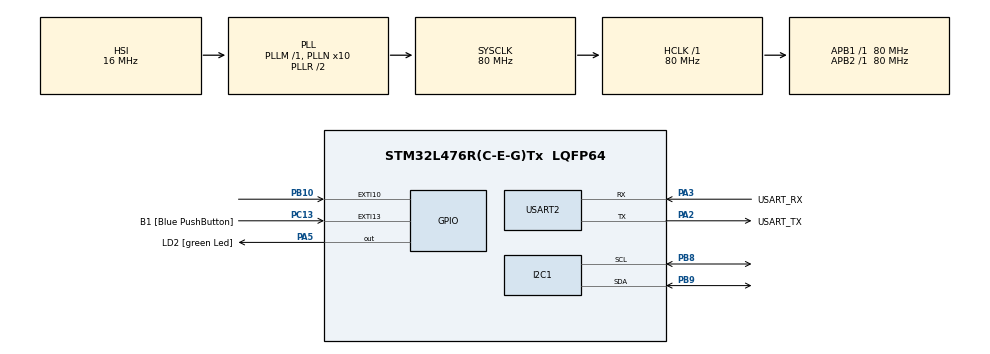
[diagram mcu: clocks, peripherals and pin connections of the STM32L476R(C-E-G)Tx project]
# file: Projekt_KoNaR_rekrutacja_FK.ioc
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I2C1.Timing=0x10909CEC
Mcu.Family=STM32L4
Mcu.Name=STM32L476R(C-E-G)Tx
Mcu.Package=LQFP64
NVIC.EXTI15_10_IRQn=true\:0\:0\:false\:false\:true\:true\:true\:true
NVIC.I2C1_ER_IRQn=true\:0\:0\:false\:false\:true\:true\:true\:true
NVIC.I2C1_EV_IRQn=true\:0\:0\:false\:false\:true\:true\:true\:true
NVIC.PriorityGroup=NVIC_PRIORITYGROUP_4
NVIC.TIM1_TRG_COM_TIM17_IRQn=true\:0\:0\:false\:false\:true\:true\:true\:true
NVIC.TIM1_UP_TIM16_IRQn=true\:0\:0\:false\:false\:true\:true\:true\:true
PA13\ (JTMS-SWDIO).GPIO_Label=TMS
PA13\ (JTMS-SWDIO).Mode=Serial_Wire
PA13\ (JTMS-SWDIO).Signal=SYS_JTMS-SWDIO
PA14\ (JTCK-SWCLK).GPIO_Label=TCK
PA14\ (JTCK-SWCLK).Mode=Serial_Wire
PA14\ (JTCK-SWCLK).Signal=SYS_JTCK-SWCLK
PA2.GPIO_Label=USART_TX
PA2.GPIO_Mode=GPIO_MODE_AF_PP
PA2.GPIO_PuPd=GPIO_NOPULL
PA2.GPIO_Speed=GPIO_SPEED_FREQ_VERY_HIGH
PA2.Mode=Asynchronous
PA2.Signal=USART2_TX
PA3.GPIO_Label=USART_RX
PA3.GPIO_Mode=GPIO_MODE_AF_PP
PA3.GPIO_PuPd=GPIO_NOPULL
PA3.GPIO_Speed=GPIO_SPEED_FREQ_VERY_HIGH
PA3.Mode=Asynchronous
PA3.Signal=USART2_RX
PA5.GPIO_Label=LD2 [green Led]
PA5.GPIO_ModeDefaultOutputPP=GPIO_MODE_OUTPUT_PP
PA5.GPIO_PuPd=GPIO_NOPULL
PA5.GPIO_Speed=GPIO_SPEED_FREQ_LOW
PA5.Signal=GPIO_Output
PB10.GPIO_ModeDefaultEXTI=GPIO_MODE_IT_RISING
PB10.Signal=GPXTI10
PB3\ (JTDO-TRACESWO).GPIO_Label=SWO
PB3\ (JTDO-TRACESWO).Signal=SYS_JTDO-SWO
PB8.Mode=I2C
PB8.Signal=I2C1_SCL
PB9.Mode=I2C
PB9.Signal=I2C1_SDA
PC13.GPIO_Label=B1 [Blue PushButton]
PC13.GPIO_ModeDefaultEXTI=GPIO_MODE_IT_FALLING
PC13.GPIO_PuPd=GPIO_NOPULL
PC13.Signal=GPXTI13
PC14-OSC32_IN\ (PC14).Mode=LSE-External-Oscillator
PC14-OSC32_IN\ (PC14).Signal=RCC_OSC32_IN
PC15-OSC32_OUT\ (PC15).Mode=LSE-External-Oscillator
PC15-OSC32_OUT\ (PC15).Signal=RCC_OSC32_OUT
PH0-OSC_IN\ (PH0).Signal=RCC_OSC_IN
PH1-OSC_OUT\ (PH1).Signal=RCC_OSC_OUT
ProjectManager.HeapSize=0x200
ProjectManager.StackSize=0x400
ProjectManager.TargetToolchain=STM32CubeIDE
RCC.ADCFreq_Value=64000000
RCC.AHBFreq_Value=80000000
RCC.APB1Freq_Value=80000000
RCC.APB1TimFreq_Value=80000000
RCC.APB2Freq_Value=80000000
RCC.APB2TimFreq_Value=80000000
RCC.CortexFreq_Value=80000000
RCC.HCLKFreq_Value=80000000
RCC.HSE_VALUE=8000000
RCC.HSI_VALUE=16000000
RCC.MSI_VALUE=4000000
RCC.PLLN=10
RCC.PLLSourceVirtual=RCC_PLLSOURCE_HSI
RCC.PREFETCH_ENABLE=1
RCC.SYSCLKFreq_VALUE=80000000
RCC.SYSCLKSource=RCC_SYSCLKSOURCE_PLLCLK
RCC.USBFreq_Value=64000000
RCC.VCOOutputFreq_Value=160000000
TIM16.Period=384-1
TIM16.Prescaler=8000-1
TIM17.Period=909-1
TIM17.Prescaler=8000-1
USART2.VirtualMode-Asynchronous=VM_ASYNC
VP_TIM16_VS_ClockSourceINT.Mode=Enable_Timer
VP_TIM17_VS_ClockSourceINT.Mode=Enable_Timer
board=NUCLEO-L476RG

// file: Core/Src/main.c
/* USER CODE BEGIN Header */
/**
  ******************************************************************************
  * @file           : main.c
  * @brief          : Main program body
  ******************************************************************************
  * @attention
  *
  * Copyright (c) 2023 STMicroelectronics.
  * All rights reserved.
  *
  * This software is licensed under terms that can be found in the LICENSE file
  * in the root directory of this software component.
  * If no LICENSE file comes with this software, it is provided AS-IS.
  *
  ******************************************************************************
  */
/* USER CODE END Header */
#include "main.h"

/* USER CODE BEGIN Includes */
#include <stdio.h>
#include "lps22hb_register_map.h"

/* USER CODE END Includes */

/* USER CODE BEGIN PTD */

#define ADDRESS	(0b01011101<<1)
#define INTERRUPT_EXTI_IRQn EXTI15_10_IRQn

/* USER CODE END PTD */

I2C_HandleTypeDef hi2c1;

TIM_HandleTypeDef htim16;
TIM_HandleTypeDef htim17;

UART_HandleTypeDef huart2;

void SystemClock_Config(void);
static void MX_GPIO_Init(void);
static void MX_USART2_UART_Init(void);
static void MX_I2C1_Init(void);
static void MX_TIM16_Init(void);
static void MX_TIM17_Init(void);

/* USER CODE BEGIN 0 */

uint32_t pressure_raw;
int16_t temperature_raw;

float pressure_hPa;
float temperature_C;

uint8_t buffer[5];

volatile uint8_t i2c_flag = 0;
volatile uint8_t B1_flag = 0;
volatile uint8_t sensor_flag = 0;
/*
void HAL_GPIO_EXTI_Callback(uint16_t GPIO_Pin) {
	if(GPIO_Pin==INTERRUPT_Pin) {
		HAL_I2C_Mem_Read_IT(&hi2c1, ADDRESS, LPS22HB_PRESS_OUT_XL, 1, buffer, 5);
	}
}
*/

void HAL_GPIO_EXTI_Callback(uint16_t GPIO_Pin)
{
    if(GPIO_Pin == GPIO_PIN_13)
    {
        B1_flag = 1;
    }
}

void HAL_TIM_PeriodElapsedCallback(TIM_HandleTypeDef *htim)
{
    if(htim == &htim16)
    {
        HAL_GPIO_TogglePin(GPIOA, GPIO_PIN_5);
    }
    if(htim == &htim17)
    {
		HAL_I2C_Mem_Read(&hi2c1, ADDRESS, LPS22HB_PRESS_OUT_XL, 1, buffer, 5, HAL_MAX_DELAY);
    }

}

void HAL_I2C_MemRxCpltCallback(I2C_HandleTypeDef *hi2c) {
	if(hi2c->Instance==I2C1) {
		const uint32_t pressure_raw = (((uint32_t)buffer[2])<<16) | (((uint32_t)buffer[1])<<8) | buffer[0];
		const int16_t temperature_raw = (((uint16_t)buffer[4])<<8) | buffer[3];

		pressure_hPa = pressure_raw/4096.f;
		temperature_C = temperature_raw/100.f;
		i2c_flag = 1;
	}
}

void ftoa(float value, char* buffer, int bufferSize, int decimalDigits) {
    int wholePart = (int)value;
    int fractionalPart = (int)((value - wholePart) * pow(10, decimalDigits));
    snprintf(buffer, bufferSize, "Preasure is: %d.%0*d hPa \n\r", wholePart, decimalDigits, fractionalPart);
}

/* USER CODE END 0 */

int main(void)
{

  /* MCU Configuration--------------------------------------------------------*/

  /* Reset of all peripherals, Initializes the Flash interface and the Systick. */
  HAL_Init();

  /* Configure the system clock */
  SystemClock_Config();

  /* Initialize all configured peripherals */
  MX_GPIO_Init();
  MX_USART2_UART_Init();
  MX_I2C1_Init();
  MX_TIM16_Init();
  MX_TIM17_Init();
  /* USER CODE BEGIN 2 */
  HAL_TIM_Base_Start_IT(&htim16);
  HAL_TIM_Base_Start_IT(&htim17);
  /* USER CODE END 2 */

  /* Infinite loop */
  /* USER CODE BEGIN WHILE */

	HAL_NVIC_DisableIRQ(INTERRUPT_EXTI_IRQn);

	{
		uint8_t reg = 0;
		HAL_I2C_Mem_Read(&hi2c1, ADDRESS, LPS22HB_WHO_AM_I, 1, &reg, 1, HAL_MAX_DELAY);

		if(reg==0b10110001) {
		  HAL_GPIO_WritePin(LD2_GPIO_Port, LD2_Pin, GPIO_PIN_SET);
		}
	}

	{
		// BOOT
		// Software Reset
		uint8_t reg = (1<<7) || (1<<1);
		HAL_I2C_Mem_Write(&hi2c1, ADDRESS, LPS22HB_CTRL_REG2, 1, &reg, 1, HAL_MAX_DELAY);
	}

	{
		// Output Data Rate 25Hz
		uint8_t reg = (3<<4);
		HAL_I2C_Mem_Write(&hi2c1, ADDRESS, LPS22HB_CTRL_REG1, 1, &reg, 1, HAL_MAX_DELAY);
	}

	{
		// Register address automatically incremented
		uint8_t reg = (1<<4);
		HAL_I2C_Mem_Write(&hi2c1, ADDRESS, LPS22HB_CTRL_REG2, 1, &reg, 1, HAL_MAX_DELAY);
	}

	{
		// DRDY interrupt
		uint8_t reg = (1<<2);
		HAL_I2C_Mem_Write(&hi2c1, ADDRESS, LPS22HB_CTRL_REG3, 1, &reg, 1, HAL_MAX_DELAY);
	}

	HAL_NVIC_EnableIRQ(INTERRUPT_EXTI_IRQn);

	// dummy read
	HAL_I2C_Mem_Read(&hi2c1, ADDRESS, LPS22HB_PRESS_OUT_XL, 1, buffer, 5, HAL_MAX_DELAY);

	// uart2 buffer
	char uart_buffer[64];
	char b1_buffer[64];
	snprintf(b1_buffer, sizeof(b1_buffer), "Wcisnieto przycsk!\n\r" );

  while(1) {

	  if(i2c_flag)
	  {
//		uint8_t buffer[5] = {0};
//		HAL_I2C_Mem_Read(&hi2c1, ADDRESS, LPS22HB_PRESS_OUT_XL, 1, buffer, 5, HAL_MAX_DELAY);
//
//		pressure_raw = (((uint32_t)buffer[2])<<16) | (((uint32_t)buffer[1])<<8) | buffer[0];
//		temperature_raw = (((uint16_t)buffer[4])<<8) | buffer[3];
//
//		pressure_hPa = pressure_raw/4096.f;
//		temperature_C = temperature_raw/100.f;
//		sprintf(uart_buffer, sizeof(uart_buffer), "Poimar cisnienia: %.2f hPa\n\r", pressure_hPa);

		ftoa(pressure_hPa, uart_buffer, sizeof(uart_buffer), 2);
		HAL_UART_Transmit(&huart2, (uint8_t*)uart_buffer, strlen(uart_buffer), HAL_MAX_DELAY);
		i2c_flag = 0;
	  }
	  if(B1_flag)
	  {
		  HAL_UART_Transmit(&huart2, (uint8_t *)b1_buffer, strlen(b1_buffer), HAL_MAX_DELAY);
		  B1_flag = 0;
	  }

    /* USER CODE END WHILE */

  }
}

void SystemClock_Config(void)
{
  RCC_OscInitTypeDef RCC_OscInitStruct = {0};
  RCC_ClkInitTypeDef RCC_ClkInitStruct = {0};

  /** Configure the main internal regulator output voltage
  */
  if (HAL_PWREx_ControlVoltageScaling(PWR_REGULATOR_VOLTAGE_SCALE1) != HAL_OK)
  {
    Error_Handler();
  }

  /** Initializes the RCC Oscillators according to the specified parameters
  * in the RCC_OscInitTypeDef structure.
  */
  RCC_OscInitStruct.OscillatorType = RCC_OSCILLATORTYPE_HSI;
  RCC_OscInitStruct.HSIState = RCC_HSI_ON;
  RCC_OscInitStruct.HSICalibrationValue = RCC_HSICALIBRATION_DEFAULT;
  RCC_OscInitStruct.PLL.PLLState = RCC_PLL_ON;
  RCC_OscInitStruct.PLL.PLLSource = RCC_PLLSOURCE_HSI;
  RCC_OscInitStruct.PLL.PLLM = 1;
  RCC_OscInitStruct.PLL.PLLN = 10;
  RCC_OscInitStruct.PLL.PLLP = RCC_PLLP_DIV7;
  RCC_OscInitStruct.PLL.PLLQ = RCC_PLLQ_DIV2;
  RCC_OscInitStruct.PLL.PLLR = RCC_PLLR_DIV2;
  if (HAL_RCC_OscConfig(&RCC_OscInitStruct) != HAL_OK)
  {
    Error_Handler();
  }

  /** Initializes the CPU, AHB and APB buses clocks
  */
  RCC_ClkInitStruct.ClockType = RCC_CLOCKTYPE_HCLK|RCC_CLOCKTYPE_SYSCLK
                              |RCC_CLOCKTYPE_PCLK1|RCC_CLOCKTYPE_PCLK2;
  RCC_ClkInitStruct.SYSCLKSource = RCC_SYSCLKSOURCE_PLLCLK;
  RCC_ClkInitStruct.AHBCLKDivider = RCC_SYSCLK_DIV1;
  RCC_ClkInitStruct.APB1CLKDivider = RCC_HCLK_DIV1;
  RCC_ClkInitStruct.APB2CLKDivider = RCC_HCLK_DIV1;

  if (HAL_RCC_ClockConfig(&RCC_ClkInitStruct, FLASH_LATENCY_4) != HAL_OK)
  {
    Error_Handler();
  }
}

static void MX_I2C1_Init(void)
{

  hi2c1.Instance = I2C1;
  hi2c1.Init.Timing = 0x10909CEC;
  hi2c1.Init.OwnAddress1 = 0;
  hi2c1.Init.AddressingMode = I2C_ADDRESSINGMODE_7BIT;
  hi2c1.Init.DualAddressMode = I2C_DUALADDRESS_DISABLE;
  hi2c1.Init.OwnAddress2 = 0;
  hi2c1.Init.OwnAddress2Masks = I2C_OA2_NOMASK;
  hi2c1.Init.GeneralCallMode = I2C_GENERALCALL_DISABLE;
  hi2c1.Init.NoStretchMode = I2C_NOSTRETCH_DISABLE;
  if (HAL_I2C_Init(&hi2c1) != HAL_OK)
  {
    Error_Handler();
  }

  /** Configure Analogue filter
  */
  if (HAL_I2CEx_ConfigAnalogFilter(&hi2c1, I2C_ANALOGFILTER_ENABLE) != HAL_OK)
  {
    Error_Handler();
  }

  /** Configure Digital filter
  */
  if (HAL_I2CEx_ConfigDigitalFilter(&hi2c1, 0) != HAL_OK)
  {
    Error_Handler();
  }

}

static void MX_TIM16_Init(void)
{

  htim16.Instance = TIM16;
  htim16.Init.Prescaler = 8000-1;
  htim16.Init.CounterMode = TIM_COUNTERMODE_UP;
  htim16.Init.Period = 384-1;
  htim16.Init.ClockDivision = TIM_CLOCKDIVISION_DIV1;
  htim16.Init.RepetitionCounter = 0;
  htim16.Init.AutoReloadPreload = TIM_AUTORELOAD_PRELOAD_DISABLE;
  if (HAL_TIM_Base_Init(&htim16) != HAL_OK)
  {
    Error_Handler();
  }

}

static void MX_TIM17_Init(void)
{

  htim17.Instance = TIM17;
  htim17.Init.Prescaler = 8000-1;
  htim17.Init.CounterMode = TIM_COUNTERMODE_UP;
  htim17.Init.Period = 909-1;
  htim17.Init.ClockDivision = TIM_CLOCKDIVISION_DIV1;
  htim17.Init.RepetitionCounter = 0;
  htim17.Init.AutoReloadPreload = TIM_AUTORELOAD_PRELOAD_DISABLE;
  if (HAL_TIM_Base_Init(&htim17) != HAL_OK)
  {
    Error_Handler();
  }

}

static void MX_USART2_UART_Init(void)
{

  huart2.Instance = USART2;
  huart2.Init.BaudRate = 115200;
  huart2.Init.WordLength = UART_WORDLENGTH_8B;
  huart2.Init.StopBits = UART_STOPBITS_1;
  huart2.Init.Parity = UART_PARITY_NONE;
  huart2.Init.Mode = UART_MODE_TX_RX;
  huart2.Init.HwFlowCtl = UART_HWCONTROL_NONE;
  huart2.Init.OverSampling = UART_OVERSAMPLING_16;
  huart2.Init.OneBitSampling = UART_ONE_BIT_SAMPLE_DISABLE;
  huart2.AdvancedInit.AdvFeatureInit = UART_ADVFEATURE_NO_INIT;
  if (HAL_UART_Init(&huart2) != HAL_OK)
  {
    Error_Handler();
  }

}

static void MX_GPIO_Init(void)
{
  GPIO_InitTypeDef GPIO_InitStruct = {0};

  /* GPIO Ports Clock Enable */
  __HAL_RCC_GPIOC_CLK_ENABLE();
  __HAL_RCC_GPIOH_CLK_ENABLE();
  __HAL_RCC_GPIOA_CLK_ENABLE();
  __HAL_RCC_GPIOB_CLK_ENABLE();

  /*Configure GPIO pin Output Level */
  HAL_GPIO_WritePin(LD2_GPIO_Port, LD2_Pin, GPIO_PIN_RESET);

  /*Configure GPIO pin : B1_Pin */
  GPIO_InitStruct.Pin = B1_Pin;
  GPIO_InitStruct.Mode = GPIO_MODE_IT_FALLING;
  GPIO_InitStruct.Pull = GPIO_NOPULL;
  HAL_GPIO_Init(B1_GPIO_Port, &GPIO_InitStruct);

  /*Configure GPIO pin : LD2_Pin */
  GPIO_InitStruct.Pin = LD2_Pin;
  GPIO_InitStruct.Mode = GPIO_MODE_OUTPUT_PP;
  GPIO_InitStruct.Pull = GPIO_NOPULL;
  GPIO_InitStruct.Speed = GPIO_SPEED_FREQ_LOW;
  HAL_GPIO_Init(LD2_GPIO_Port, &GPIO_InitStruct);

  /*Configure GPIO pin : PB10 */
  GPIO_InitStruct.Pin = GPIO_PIN_10;
  GPIO_InitStruct.Mode = GPIO_MODE_IT_RISING;
  GPIO_InitStruct.Pull = GPIO_NOPULL;
  HAL_GPIO_Init(GPIOB, &GPIO_InitStruct);

  /* EXTI interrupt init*/
  HAL_NVIC_SetPriority(EXTI15_10_IRQn, 0, 0);
  HAL_NVIC_EnableIRQ(EXTI15_10_IRQn);

}

void Error_Handler(void)
{
  __disable_irq();
  while (1)
  {
  }
}
